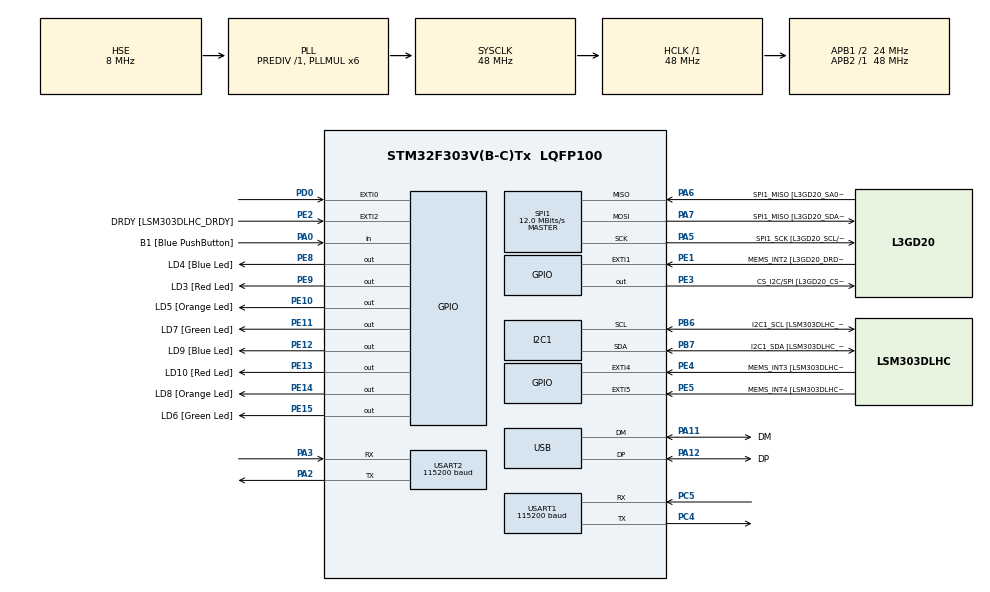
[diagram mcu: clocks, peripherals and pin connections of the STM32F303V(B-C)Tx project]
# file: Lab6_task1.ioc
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I2C1.Timing=0x00201D2B
I2C1.Timing-I2C=0x2000090E
Mcu.Family=STM32F3
Mcu.Name=STM32F303V(B-C)Tx
Mcu.Package=LQFP100
NVIC.EXTI0_IRQn=true\:0\:0\:false\:false\:true\:true\:true\:true
NVIC.PriorityGroup=NVIC_PRIORITYGROUP_0
PA0.GPIO_Label=B1 [Blue PushButton]
PA0.Signal=GPIO_Input
PA11.GPIO_Label=DM
PA11.Mode=Device
PA11.Signal=USB_DM
PA12.GPIO_Label=DP
PA12.Mode=Device
PA12.Signal=USB_DP
PA13.GPIO_Label=SWDIO
PA13.Mode=Serial_Wire
PA13.Signal=SYS_JTMS-SWDIO
PA14.GPIO_Label=SWCLK
PA14.Mode=Serial_Wire
PA14.Signal=SYS_JTCK-SWCLK
PA2.Mode=Asynchronous
PA2.Signal=USART2_TX
PA3.Mode=Asynchronous
PA3.Signal=USART2_RX
PA5.GPIO_Label=SPI1_SCK [L3GD20_SCL/SPC]
PA5.Mode=Full_Duplex_Master
PA5.Signal=SPI1_SCK
PA6.GPIO_Label=SPI1_MISO [L3GD20_SA0/SDO]
PA6.Mode=Full_Duplex_Master
PA6.Signal=SPI1_MISO
PA7.GPIO_Label=SPI1_MISO [L3GD20_SDA/SDI/SDO]
PA7.Mode=Full_Duplex_Master
PA7.Signal=SPI1_MOSI
PB3.GPIO_Label=SWO
PB3.Signal=SYS_JTDO-TRACESWO
PB6.GPIO_Label=I2C1_SCL [LSM303DLHC_SCL]
PB6.GPIO_Pu=GPIO_PULLUP
PB6.Mode=I2C
PB6.Signal=I2C1_SCL
PB7.GPIO_Label=I2C1_SDA [LSM303DLHC_SDA]
PB7.GPIO_Pu=GPIO_PULLUP
PB7.Mode=I2C
PB7.Signal=I2C1_SDA
PC14-OSC32_IN.GPIO_Label=OSC32_IN
PC14-OSC32_IN.Signal=RCC_OSC32_IN
PC15-OSC32_OUT.GPIO_Label=OSC32_OUT
PC15-OSC32_OUT.Signal=RCC_OSC32_OUT
PC4.Mode=Asynchronous
PC4.Signal=USART1_TX
PC5.Mode=Asynchronous
PC5.Signal=USART1_RX
PD0.Signal=GPXTI0
PE1.GPIO_Label=MEMS_INT2 [L3GD20_DRDY/INT2]
PE1.GPIO_ModeDefaultEXTI=GPIO_MODE_EVT_RISING
PE1.Signal=GPXTI1
PE10.GPIO_Label=LD5 [Orange Led]
PE10.Signal=GPIO_Output
PE11.GPIO_Label=LD7 [Green Led]
PE11.Signal=GPIO_Output
PE12.GPIO_Label=LD9 [Blue Led]
PE12.Signal=GPIO_Output
PE13.GPIO_Label=LD10 [Red Led]
PE13.Signal=GPIO_Output
PE14.GPIO_Label=LD8 [Orange Led]
PE14.Signal=GPIO_Output
PE15.GPIO_Label=LD6 [Green Led]
PE15.Signal=GPIO_Output
PE2.GPIO_Label=DRDY [LSM303DLHC_DRDY]
PE2.GPIO_ModeDefaultEXTI=GPIO_MODE_EVT_RISING
PE2.Signal=GPXTI2
PE3.GPIO_Label=CS_I2C/SPI [L3GD20_CS_I2C/SPI]
PE3.Signal=GPIO_Output
PE4.GPIO_Label=MEMS_INT3 [LSM303DLHC_INT1]
PE4.GPIO_ModeDefaultEXTI=GPIO_MODE_EVT_RISING
PE4.Signal=GPXTI4
PE5.GPIO_Label=MEMS_INT4 [LSM303DLHC_INT2]
PE5.GPIO_ModeDefaultEXTI=GPIO_MODE_EVT_RISING
PE5.Signal=GPXTI5
PE8.GPIO_Label=LD4 [Blue Led]
PE8.Signal=GPIO_Output
PE9.GPIO_Label=LD3 [Red Led]
PE9.Signal=GPIO_Output
PF0-OSC_IN.GPIO_Label=OSC_IN
PF0-OSC_IN.Mode=HSE-External-Clock-Source
PF0-OSC_IN.Signal=RCC_OSC_IN
PF1-OSC_OUT.GPIO_Label=OSC_OUT
PF1-OSC_OUT.Signal=RCC_OSC_OUT
ProjectManager.HeapSize=0x200
ProjectManager.StackSize=0x400
ProjectManager.TargetToolchain=CMake
RCC.AHBFreq_Value=48000000
RCC.APB1CLKDivider=RCC_HCLK_DIV2
RCC.APB1Freq_Value=24000000
RCC.APB1TimFreq_Value=48000000
RCC.APB2Freq_Value=48000000
RCC.APB2TimFreq_Value=48000000
RCC.CortexFreq_Value=48000000
RCC.HCLKFreq_Value=48000000
RCC.HSE_VALUE=8000000
RCC.HSI_VALUE=8000000
RCC.LSE_VALUE=32768
RCC.PLLMUL=RCC_PLL_MUL6
RCC.SYSCLKFreq_VALUE=48000000
RCC.SYSCLKSourceVirtual=RCC_SYSCLKSOURCE_PLLCLK
RCC.USBFreq_Value=48000000
SPI1.BaudRatePrescaler=SPI_BAUDRATEPRESCALER_4
SPI1.BaudRatePrescaler-Full_Duplex_Master=SPI_BAUDRATEPRESCALER_2
SPI1.CalculateBaudRate=12.0 MBits/s
SPI1.CalculateBaudRate-Full_Duplex_Master=24.0 MBits/s
SPI1.Direction=SPI_DIRECTION_2LINES
SPI1.Mode=SPI_MODE_MASTER
SPI1.Mode-Full_Duplex_Master=SPI_MODE_MASTER
SPI1.VirtualType=VM_MASTER
TIM2.Prescaler=9
USART1.BaudRate=115200
USART1.VirtualMode-Asynchronous=VM_ASYNC
USART2.BaudRate=115200
USART2.VirtualMode-Asynchronous=VM_ASYNC
VP_TIM2_VS_ClockSourceINT.Mode=Internal
board=STM32F3DISCOVERY

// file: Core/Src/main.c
/* USER CODE BEGIN Header */
/**
  ******************************************************************************
  * @file           : main.c
  * @brief          : Main program body
  ******************************************************************************
  * @attention
  *
  * Copyright (c) 2026 STMicroelectronics.
  * All rights reserved.
  *
  * This software is licensed under terms that can be found in the LICENSE file
  * in the root directory of this software component.
  * If no LICENSE file comes with this software, it is provided AS-IS.
  *
  ******************************************************************************
  */
/* USER CODE END Header */
#include "main.h"

/* USER CODE BEGIN Includes */
#include "stdio.h"
#include "string.h"
#include "stdarg.h"
/* USER CODE END Includes */

I2C_HandleTypeDef hi2c1;

SPI_HandleTypeDef hspi1;

TIM_HandleTypeDef htim2;

UART_HandleTypeDef huart1;
UART_HandleTypeDef huart2;

PCD_HandleTypeDef hpcd_USB_FS;

/* USER CODE BEGIN PV */
uint32_t period[10];
int i = 0;
int count = 0;
int flag = 0;
#
/* USER CODE END PV */

void SystemClock_Config(void);
static void MX_GPIO_Init(void);
static void MX_I2C1_Init(void);
static void MX_SPI1_Init(void);
static void MX_TIM2_Init(void);
static void MX_USART1_UART_Init(void);
static void MX_USB_PCD_Init(void);
static void MX_USART2_UART_Init(void);

/* USER CODE BEGIN 0 */
void myPrintf(const char *fmt, ...){
    char buffer[100];
    va_list args;
    va_start(args, fmt);
    vsnprintf(buffer, sizeof(buffer), fmt, args);
    va_end(args);

    uint8_t length = strlen(buffer);
    HAL_UART_Transmit(&huart2, (uint8_t *)buffer, length, HAL_MAX_DELAY);

  }

/* USER CODE END 0 */

int main(void)
{

  /* MCU Configuration--------------------------------------------------------*/

  /* Reset of all peripherals, Initializes the Flash interface and the Systick. */
  HAL_Init();

  /* Configure the system clock */
  SystemClock_Config();

  /* Initialize all configured peripherals */
  MX_GPIO_Init();
  MX_I2C1_Init();
  MX_SPI1_Init();
  MX_TIM2_Init();
  MX_USART1_UART_Init();
  MX_USB_PCD_Init();
  MX_USART2_UART_Init();

  /* Infinite loop */
  while (1)
  {

    /* USER CODE BEGIN 3 */
  if (flag == 1) {
  uint32_t sum = 0;
  for (int k = 0; k < 10; k++) sum += period[k];
  float avg = sum / 10.0f;
  float f = 4800000.0f / avg;
  float err = f/avg;

  myPrintf("f = %.2f +/- %.2f Hz\r\n", f, err);
  flag = 0;
}
HAL_Delay(100);
  }
  /* USER CODE END 3 */
}

void SystemClock_Config(void)
{
  RCC_OscInitTypeDef RCC_OscInitStruct = {0};
  RCC_ClkInitTypeDef RCC_ClkInitStruct = {0};
  RCC_PeriphCLKInitTypeDef PeriphClkInit = {0};

  /** Initializes the RCC Oscillators according to the specified parameters
  * in the RCC_OscInitTypeDef structure.
  */
  RCC_OscInitStruct.OscillatorType = RCC_OSCILLATORTYPE_HSI|RCC_OSCILLATORTYPE_HSE;
  RCC_OscInitStruct.HSEState = RCC_HSE_BYPASS;
  RCC_OscInitStruct.HSEPredivValue = RCC_HSE_PREDIV_DIV1;
  RCC_OscInitStruct.HSIState = RCC_HSI_ON;
  RCC_OscInitStruct.HSICalibrationValue = RCC_HSICALIBRATION_DEFAULT;
  RCC_OscInitStruct.PLL.PLLState = RCC_PLL_ON;
  RCC_OscInitStruct.PLL.PLLSource = RCC_PLLSOURCE_HSE;
  RCC_OscInitStruct.PLL.PLLMUL = RCC_PLL_MUL6;
  if (HAL_RCC_OscConfig(&RCC_OscInitStruct) != HAL_OK)
  {
    Error_Handler();
  }

  /** Initializes the CPU, AHB and APB buses clocks
  */
  RCC_ClkInitStruct.ClockType = RCC_CLOCKTYPE_HCLK|RCC_CLOCKTYPE_SYSCLK
                              |RCC_CLOCKTYPE_PCLK1|RCC_CLOCKTYPE_PCLK2;
  RCC_ClkInitStruct.SYSCLKSource = RCC_SYSCLKSOURCE_PLLCLK;
  RCC_ClkInitStruct.AHBCLKDivider = RCC_SYSCLK_DIV1;
  RCC_ClkInitStruct.APB1CLKDivider = RCC_HCLK_DIV2;
  RCC_ClkInitStruct.APB2CLKDivider = RCC_HCLK_DIV1;

  if (HAL_RCC_ClockConfig(&RCC_ClkInitStruct, FLASH_LATENCY_1) != HAL_OK)
  {
    Error_Handler();
  }
  PeriphClkInit.PeriphClockSelection = RCC_PERIPHCLK_USB|RCC_PERIPHCLK_USART1
                              |RCC_PERIPHCLK_USART2|RCC_PERIPHCLK_I2C1;
  PeriphClkInit.Usart1ClockSelection = RCC_USART1CLKSOURCE_PCLK2;
  PeriphClkInit.Usart2ClockSelection = RCC_USART2CLKSOURCE_PCLK1;
  PeriphClkInit.I2c1ClockSelection = RCC_I2C1CLKSOURCE_HSI;
  PeriphClkInit.USBClockSelection = RCC_USBCLKSOURCE_PLL;
  if (HAL_RCCEx_PeriphCLKConfig(&PeriphClkInit) != HAL_OK)
  {
    Error_Handler();
  }
}

static void MX_I2C1_Init(void)
{

  hi2c1.Instance = I2C1;
  hi2c1.Init.Timing = 0x00201D2B;
  hi2c1.Init.OwnAddress1 = 0;
  hi2c1.Init.AddressingMode = I2C_ADDRESSINGMODE_7BIT;
  hi2c1.Init.DualAddressMode = I2C_DUALADDRESS_DISABLE;
  hi2c1.Init.OwnAddress2 = 0;
  hi2c1.Init.OwnAddress2Masks = I2C_OA2_NOMASK;
  hi2c1.Init.GeneralCallMode = I2C_GENERALCALL_DISABLE;
  hi2c1.Init.NoStretchMode = I2C_NOSTRETCH_DISABLE;
  if (HAL_I2C_Init(&hi2c1) != HAL_OK)
  {
    Error_Handler();
  }

  /** Configure Analogue filter
  */
  if (HAL_I2CEx_ConfigAnalogFilter(&hi2c1, I2C_ANALOGFILTER_ENABLE) != HAL_OK)
  {
    Error_Handler();
  }

  /** Configure Digital filter
  */
  if (HAL_I2CEx_ConfigDigitalFilter(&hi2c1, 0) != HAL_OK)
  {
    Error_Handler();
  }

}

static void MX_SPI1_Init(void)
{

  /* SPI1 parameter configuration*/
  hspi1.Instance = SPI1;
  hspi1.Init.Mode = SPI_MODE_MASTER;
  hspi1.Init.Direction = SPI_DIRECTION_2LINES;
  hspi1.Init.DataSize = SPI_DATASIZE_4BIT;
  hspi1.Init.CLKPolarity = SPI_POLARITY_LOW;
  hspi1.Init.CLKPhase = SPI_PHASE_1EDGE;
  hspi1.Init.NSS = SPI_NSS_SOFT;
  hspi1.Init.BaudRatePrescaler = SPI_BAUDRATEPRESCALER_4;
  hspi1.Init.FirstBit = SPI_FIRSTBIT_MSB;
  hspi1.Init.TIMode = SPI_TIMODE_DISABLE;
  hspi1.Init.CRCCalculation = SPI_CRCCALCULATION_DISABLE;
  hspi1.Init.CRCPolynomial = 7;
  hspi1.Init.CRCLength = SPI_CRC_LENGTH_DATASIZE;
  hspi1.Init.NSSPMode = SPI_NSS_PULSE_ENABLE;
  if (HAL_SPI_Init(&hspi1) != HAL_OK)
  {
    Error_Handler();
  }

}

static void MX_TIM2_Init(void)
{

  TIM_ClockConfigTypeDef sClockSourceConfig = {0};
  TIM_MasterConfigTypeDef sMasterConfig = {0};

  htim2.Instance = TIM2;
  htim2.Init.Prescaler = 9;
  htim2.Init.CounterMode = TIM_COUNTERMODE_UP;
  htim2.Init.Period = 4294967295;
  htim2.Init.ClockDivision = TIM_CLOCKDIVISION_DIV1;
  htim2.Init.AutoReloadPreload = TIM_AUTORELOAD_PRELOAD_DISABLE;
  if (HAL_TIM_Base_Init(&htim2) != HAL_OK)
  {
    Error_Handler();
  }
  sClockSourceConfig.ClockSource = TIM_CLOCKSOURCE_INTERNAL;
  if (HAL_TIM_ConfigClockSource(&htim2, &sClockSourceConfig) != HAL_OK)
  {
    Error_Handler();
  }
  sMasterConfig.MasterOutputTrigger = TIM_TRGO_RESET;
  sMasterConfig.MasterSlaveMode = TIM_MASTERSLAVEMODE_DISABLE;
  if (HAL_TIMEx_MasterConfigSynchronization(&htim2, &sMasterConfig) != HAL_OK)
  {
    Error_Handler();
  }

}

static void MX_USART1_UART_Init(void)
{

  huart1.Instance = USART1;
  huart1.Init.BaudRate = 115200;
  huart1.Init.WordLength = UART_WORDLENGTH_8B;
  huart1.Init.StopBits = UART_STOPBITS_1;
  huart1.Init.Parity = UART_PARITY_NONE;
  huart1.Init.Mode = UART_MODE_TX_RX;
  huart1.Init.HwFlowCtl = UART_HWCONTROL_NONE;
  huart1.Init.OverSampling = UART_OVERSAMPLING_16;
  huart1.Init.OneBitSampling = UART_ONE_BIT_SAMPLE_DISABLE;
  huart1.AdvancedInit.AdvFeatureInit = UART_ADVFEATURE_NO_INIT;
  if (HAL_UART_Init(&huart1) != HAL_OK)
  {
    Error_Handler();
  }

}

static void MX_USART2_UART_Init(void)
{

  huart2.Instance = USART2;
  huart2.Init.BaudRate = 115200;
  huart2.Init.WordLength = UART_WORDLENGTH_8B;
  huart2.Init.StopBits = UART_STOPBITS_1;
  huart2.Init.Parity = UART_PARITY_NONE;
  huart2.Init.Mode = UART_MODE_TX_RX;
  huart2.Init.HwFlowCtl = UART_HWCONTROL_NONE;
  huart2.Init.OverSampling = UART_OVERSAMPLING_16;
  huart2.Init.OneBitSampling = UART_ONE_BIT_SAMPLE_DISABLE;
  huart2.AdvancedInit.AdvFeatureInit = UART_ADVFEATURE_NO_INIT;
  if (HAL_UART_Init(&huart2) != HAL_OK)
  {
    Error_Handler();
  }

}

static void MX_USB_PCD_Init(void)
{

  hpcd_USB_FS.Instance = USB;
  hpcd_USB_FS.Init.dev_endpoints = 8;
  hpcd_USB_FS.Init.speed = PCD_SPEED_FULL;
  hpcd_USB_FS.Init.phy_itface = PCD_PHY_EMBEDDED;
  hpcd_USB_FS.Init.low_power_enable = DISABLE;
  hpcd_USB_FS.Init.battery_charging_enable = DISABLE;
  if (HAL_PCD_Init(&hpcd_USB_FS) != HAL_OK)
  {
    Error_Handler();
  }

}

static void MX_GPIO_Init(void)
{
  GPIO_InitTypeDef GPIO_InitStruct = {0};

  /* GPIO Ports Clock Enable */
  __HAL_RCC_GPIOE_CLK_ENABLE();
  __HAL_RCC_GPIOC_CLK_ENABLE();
  __HAL_RCC_GPIOF_CLK_ENABLE();
  __HAL_RCC_GPIOA_CLK_ENABLE();
  __HAL_RCC_GPIOD_CLK_ENABLE();
  __HAL_RCC_GPIOB_CLK_ENABLE();

  /*Configure GPIO pin Output Level */
  HAL_GPIO_WritePin(GPIOE, CS_I2C_SPI_Pin|LD4_Pin|LD3_Pin|LD5_Pin
                          |LD7_Pin|LD9_Pin|LD10_Pin|LD8_Pin
                          |LD6_Pin, GPIO_PIN_RESET);

  /*Configure GPIO pins : DRDY_Pin MEMS_INT3_Pin MEMS_INT4_Pin MEMS_INT2_Pin */
  GPIO_InitStruct.Pin = DRDY_Pin|MEMS_INT3_Pin|MEMS_INT4_Pin|MEMS_INT2_Pin;
  GPIO_InitStruct.Mode = GPIO_MODE_EVT_RISING;
  GPIO_InitStruct.Pull = GPIO_NOPULL;
  HAL_GPIO_Init(GPIOE, &GPIO_InitStruct);

  /*Configure GPIO pins : CS_I2C_SPI_Pin LD4_Pin LD3_Pin LD5_Pin
                           LD7_Pin LD9_Pin LD10_Pin LD8_Pin
                           LD6_Pin */
  GPIO_InitStruct.Pin = CS_I2C_SPI_Pin|LD4_Pin|LD3_Pin|LD5_Pin
                          |LD7_Pin|LD9_Pin|LD10_Pin|LD8_Pin
                          |LD6_Pin;
  GPIO_InitStruct.Mode = GPIO_MODE_OUTPUT_PP;
  GPIO_InitStruct.Pull = GPIO_NOPULL;
  GPIO_InitStruct.Speed = GPIO_SPEED_FREQ_LOW;
  HAL_GPIO_Init(GPIOE, &GPIO_InitStruct);

  /*Configure GPIO pin : B1_Pin */
  GPIO_InitStruct.Pin = B1_Pin;
  GPIO_InitStruct.Mode = GPIO_MODE_INPUT;
  GPIO_InitStruct.Pull = GPIO_NOPULL;
  HAL_GPIO_Init(B1_GPIO_Port, &GPIO_InitStruct);

  /*Configure GPIO pin : PD0 */
  GPIO_InitStruct.Pin = GPIO_PIN_0;
  GPIO_InitStruct.Mode = GPIO_MODE_IT_RISING;
  GPIO_InitStruct.Pull = GPIO_NOPULL;
  HAL_GPIO_Init(GPIOD, &GPIO_InitStruct);

  /* EXTI interrupt init*/
  HAL_NVIC_SetPriority(EXTI0_IRQn, 0, 0);
  HAL_NVIC_EnableIRQ(EXTI0_IRQn);

}

/* USER CODE BEGIN 4 */
void HAL_GPIO_EXTI_Callback(uint16_t GPIO_Pin)
{
  if (count == 0){
    __HAL_TIM_SET_COUNTER(&htim2, 0);
    HAL_TIM_Base_Start_IT(&htim2);
    count = 1;
  }
  else{
    period[i] = __HAL_TIM_GET_COUNTER(&htim2);
    HAL_TIM_Base_Stop_IT(&htim2);
    count = 0;
    i++;
  }
  if (i == 10){
    flag = 1;
    i = 0;
  }
}
/* USER CODE END 4 */

void Error_Handler(void)
{
  __disable_irq();
  while (1)
  {
  }
}
